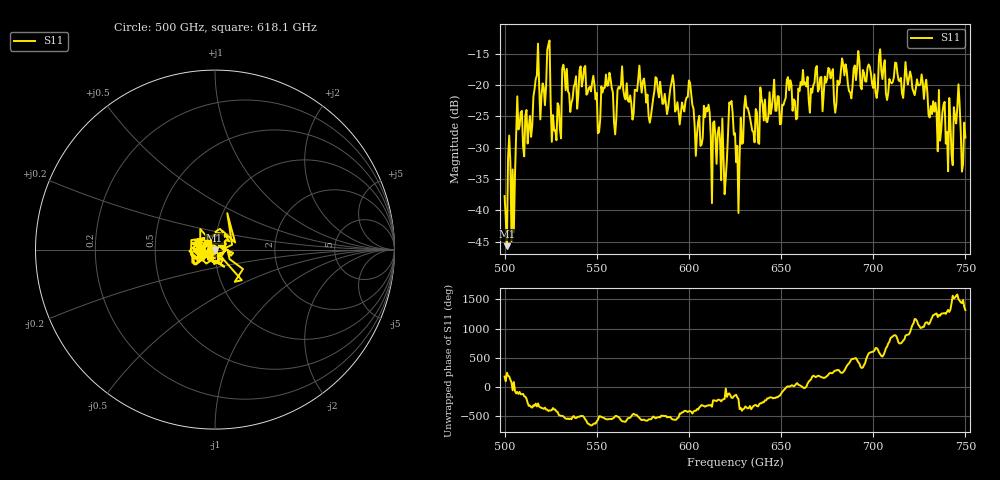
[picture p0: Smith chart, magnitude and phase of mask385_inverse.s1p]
!Created with skrf (http://scikit-rf.org).
# GHz S MA R 50.0
!freq magS11 angS11
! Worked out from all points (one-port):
!   401 points, 500 GHz to 750 GHz, reference 50 ohm
!   lowest |S11| = -45.7 dB at 501.2 GHz (marker M1), VSWR 1.01, Z = 49.7 - j0.442 ohm
!   |S11| at or under -10 dB: start of sweep to end of sweep
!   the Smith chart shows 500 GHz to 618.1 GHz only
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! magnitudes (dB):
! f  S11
! 500 GHz  -37.7
! 501.2 GHz  -45.7
! 505 GHz  -43.5
! 508.1 GHz  -26.5
! 513.8 GHz  -24.9
! 517.5 GHz  -18.5
! 520.6 GHz  -19.7
! 523.8 GHz  -13.5
! 526.9 GHz  -27.2
! 531.2 GHz  -17.4
! 542.5 GHz  -19.1
! 550.6 GHz  -27.7
! 562.5 GHz  -20.6
! 593.8 GHz  -22.7
! 610 GHz  -24.2
! 618.8 GHz  -31.6
! 622.5 GHz  -23.0
! 625 GHz  -27.7
! 626.2 GHz  -29.7
! 631.2 GHz  -23.6
! 636.9 GHz  -24.4
! 656.2 GHz  -24.1
! 676.9 GHz  -18.9
! 680 GHz  -23.0
! 683.8 GHz  -16.8
! 687.5 GHz  -21.2
! 718.8 GHz  -19.9
! 750 GHz  -28.4
